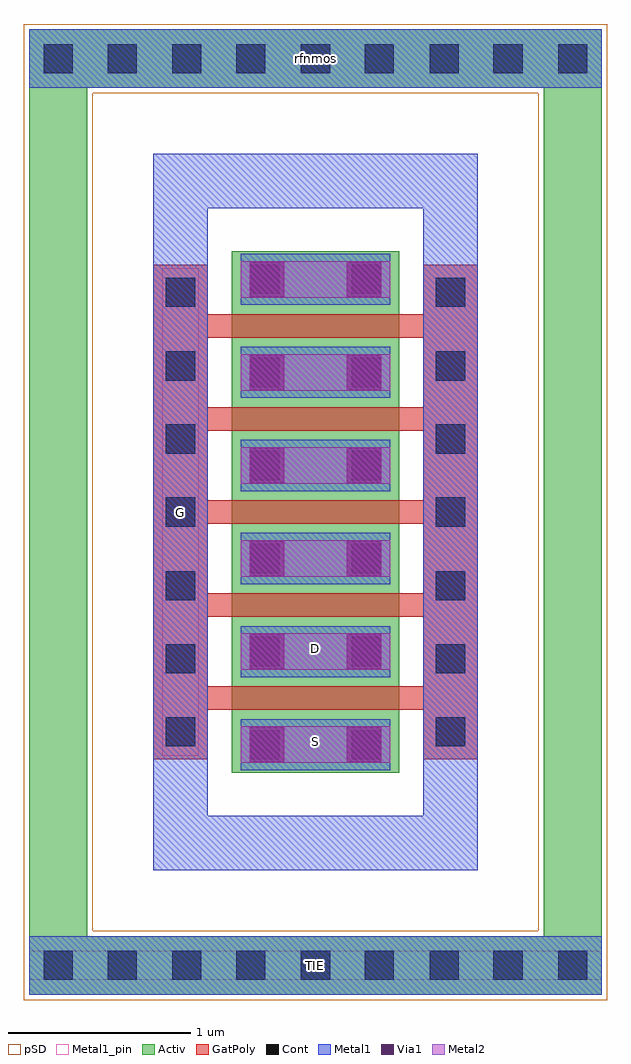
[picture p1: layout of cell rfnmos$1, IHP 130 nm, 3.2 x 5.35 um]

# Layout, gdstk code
import gdstk
lib = gdstk.Library(unit=1e-6, precision=1e-09)
def R(c, l, rs):  # rectangles x0, y0, x1, y1
    for r in rs: c.add(gdstk.rectangle(r[:2], r[2:], *l))
def A(c, l, x, y, w, h, nx, ny, dx, dy):  # array of equal rectangles
    R(c, l, [(x+i*dx, y+j*dy, x+i*dx+w, y+j*dy+h) for i in range(nx) for j in range(ny)])
def P(c, l, *ps):  # polygons
    for p in ps: c.add(gdstk.Polygon(p, *l))
Activ = (1, 0)
GatPoly = (5, 0)
Cont = (6, 0)
Metal1 = (8, 0)
Metal1_pin = (8, 2)
Metal2 = (10, 0)
pSD = (14, 0)
Via1 = (19, 0)

rfnmos_1 = lib.new_cell('rfnmos$1')
R(rfnmos_1, Activ, [(1.14,1.245,2.06,4.105)])
P(rfnmos_1, Activ, [(0.03,0.03),(0.03,5),(0.35,5),(0.35,0.35),(2.85,0.35),(2.85,5),(0.03,5),(0.03,5.32),(3.17,5.32),(3.17,0.03)])
A(rfnmos_1, GatPoly, 1.01, 1.59, 1.18, 0.13, 1, 5, 0, 0.51)
R(rfnmos_1, GatPoly, [(0.71,1.32,1.01,4.03), (2.19,1.32,2.49,4.03)])
A(rfnmos_1, Cont, 1.24, 1.32, 0.16, 0.16, 1, 6, 0, 0.51)
A(rfnmos_1, Cont, 1.8, 1.32, 0.16, 0.16, 1, 6, 0, 0.51)
A(rfnmos_1, Cont, 0.78, 1.39, 0.16, 0.16, 1, 3, 0, 0.4)
A(rfnmos_1, Cont, 2.26, 1.39, 0.16, 0.16, 1, 3, 0, 0.4)
A(rfnmos_1, Cont, 0.78, 2.595, 0.16, 0.16, 1, 3, 0, 0.4)
A(rfnmos_1, Cont, 2.26, 2.595, 0.16, 0.16, 1, 3, 0, 0.4)
R(rfnmos_1, Cont, [(0.11,0.11,0.27,0.27), (0.46,0.11,0.62,0.27), (0.815,0.11,0.975,0.27), (1.165,0.11,1.325,0.27), (1.52,0.11,1.68,0.27), (1.87,0.11,2.03,0.27), (2.225,0.11,2.385,0.27), (2.575,0.11,2.735,0.27), (2.93,0.11,3.09,0.27), (0.78,3.8,0.94,3.96), (2.26,3.8,2.42,3.96), (0.11,5.08,0.27,5.24), (0.46,5.08,0.62,5.24), (0.815,5.08,0.975,5.24), (1.165,5.08,1.325,5.24), (1.52,5.08,1.68,5.24), (1.87,5.08,2.03,5.24), (2.225,5.08,2.385,5.24), (2.575,5.08,2.735,5.24), (2.93,5.08,3.09,5.24)])
A(rfnmos_1, Metal1, 1.19, 1.26, 0.82, 0.28, 1, 6, 0, 0.51)
R(rfnmos_1, Metal1, [(0.03,0.03,3.17,0.35), (0.76,1.34,0.96,4.01), (2.24,1.34,2.44,4.01), (0.03,5,3.17,5.32)])
P(rfnmos_1, Metal1, [(0.71,0.71),(0.71,4.34),(1.01,4.34),(1.01,1.01),(2.19,1.01),(2.19,4.34),(0.71,4.34),(0.71,4.64),(2.49,4.64),(2.49,0.71)])
R(rfnmos_1, Metal1_pin, [(0.03,0.11,3.17,0.27), (0.03,0.11,3.17,0.27), (1.19,1.26,2.01,1.54), (1.19,1.26,2.01,1.54), (0.76,1.34,0.96,4.01), (0.76,1.34,0.96,4.01), (1.19,1.77,2.01,2.05), (1.19,1.77,2.01,2.05)])
A(rfnmos_1, Metal2, 1.19, 1.3, 0.82, 0.2, 1, 6, 0, 0.51)
P(rfnmos_1, pSD, [(0,0),(0,4.97),(0.38,4.97),(0.38,0.38),(2.82,0.38),(2.82,4.97),(0,4.97),(0,5.35),(3.2,5.35),(3.2,0)])
A(rfnmos_1, Via1, 1.24, 1.305, 0.19, 0.19, 1, 6, 0, 0.51)
A(rfnmos_1, Via1, 1.77, 1.305, 0.19, 0.19, 1, 6, 0, 0.51)
rfnmos_1.add(gdstk.Label('S', (1.6,1.418), layer=63, texttype=0))
rfnmos_1.add(gdstk.Label('D', (1.6,1.927), layer=63, texttype=0))
rfnmos_1.add(gdstk.Label('G', (0.86,2.675), layer=63, texttype=0))
rfnmos_1.add(gdstk.Label('TIE', (1.6,0.19), layer=63, texttype=0))
rfnmos_1.add(gdstk.Label('rfnmos', (1.6,5.16), layer=63, texttype=0))

lib.write_gds('rfnmos_1.gds')
